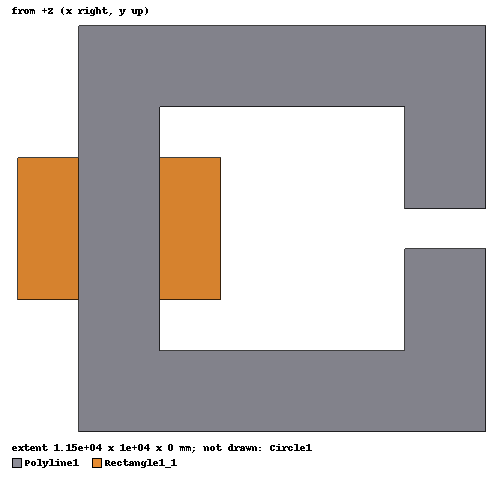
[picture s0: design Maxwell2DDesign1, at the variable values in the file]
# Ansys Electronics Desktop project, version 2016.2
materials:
  vacuum: permittivity=1
  iron: permeability=4000 conductivity=10300000
  copper: permeability=0.999991 conductivity=58000000
  air: permittivity=1.0006 permeability=1.0000004
  ferrite: permittivity=12 permeability=1000 conductivity=0.01

design Maxwell2DDesign1 (Maxwell 2D, Magnetostatic, XY geometry, model units mm)
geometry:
  Polyline1 [ferrite] = polyline(z=0mm, xy in mm: (7500, 37500) (7500, 27500) (17500, 27500) (17500, 32000) (15500, 32000) (15500, 29500) (9500, 29500) (9500, 35500) (15500, 35500) (15500, 33000) (17500, 33000) (17500, 37500) (7500, 37500), closed, covered)
  Rectangle1 = rectangle(corner=(6000mm, 34250mm, 0mm), x_size=1500mm, y_size=-3500mm)
  Rectangle1_1 [copper] = Rectangle1.duplicate_mirror(point=(8500mm, 32500mm, 0mm), normal=(1mm, 0mm, 0mm))
  Rectangle1_1.unite(Rectangle1)
  Circle1 [air] = circle(normal=Z, centre=(12500mm, 32500mm, 0mm), radius=13901.439mm)
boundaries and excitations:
  Balloon1: Balloon Edges=Circle1.edge(1 of 1)
  Current1: Current Objects=Rectangle1_1 Current=12kA IsPositive=true
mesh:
  initial mesh: MeshMethod=AnsoftClassic
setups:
  Setup1: Magnetostatic MaximumPasses=10 MinimumPasses=2 MinimumConvergedPasses=1 PercentRefinement=30 PercentError=1 NonLinearResidual=0.0001
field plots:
  Mag_B1, Mag_B2: B over Polyline1 on Setup1 : LastAdaptive
  Mag_B3: B on Setup1 : LastAdaptive
  B_Vector1: B over Circle1 on Setup1 : LastAdaptive
